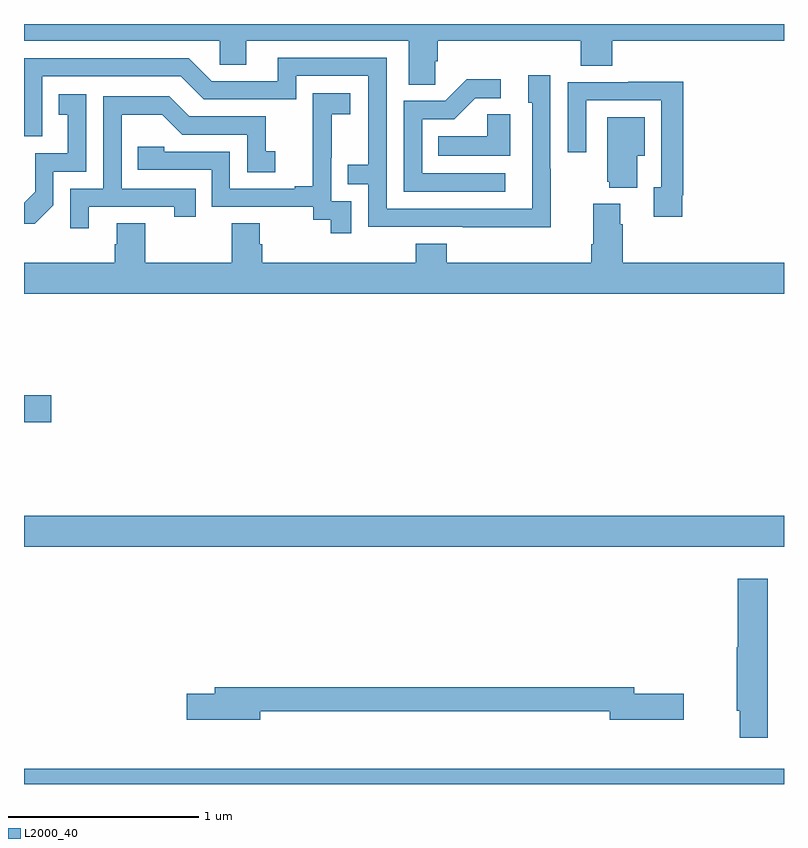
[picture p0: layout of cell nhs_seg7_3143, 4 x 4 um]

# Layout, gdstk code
import gdstk
lib = gdstk.Library(unit=1e-6, precision=1e-09)
def R(c, l, rs):  # rectangles x0, y0, x1, y1
    for r in rs: c.add(gdstk.rectangle(r[:2], r[2:], *l))
def P(c, l, *ps):  # polygons
    for p in ps: c.add(gdstk.Polygon(p, *l))
L2000_40 = (2000, 40)

nhs_seg7_3143 = lib.new_cell('nhs_seg7_3143')
R(nhs_seg7_3143, L2000_40, [(311,1034,315,1034.08), (311,1035.248,315,1035.412), (311,1035.904,311.143,1036.046)])
P(nhs_seg7_3143, L2000_40, [(313.164,1037.803),(313.178,1037.803),(313.178,1037.912),(313.931,1037.912),(313.931,1037.779),(314.096,1037.779),(314.096,1037.912),(315,1037.912),(315,1038),(311,1038),(311,1037.912),(312.03,1037.912),(312.03,1037.785),(312.169,1037.785),(312.169,1037.912),(313.025,1037.912),(313.025,1037.68),(313.164,1037.68)],
  [(313.773,1037.237),(313.77,1037.237),(313.77,1037.731),(313.655,1037.731),(313.655,1037.586),(313.674,1037.586),(313.674,1037.028),(312.909,1037.028),(312.909,1037.823),(312.335,1037.823),(312.335,1037.7),(311.988,1037.7),(311.868,1037.82),(311,1037.82),(311,1037.409),(311.097,1037.409),(311.097,1037.724),(311.826,1037.724),(311.946,1037.604),(312.432,1037.604),(312.432,1037.727),(312.813,1037.727),(312.813,1037.258),(312.703,1037.258),(312.703,1037.157),(312.813,1037.157),(312.813,1036.932),(313.309,1036.932),(313.309,1036.93),(313.773,1036.93)],
  [(313.534,1037.214),(313.095,1037.214),(313.095,1037.499),(313.264,1037.499),(313.375,1037.61),(313.51,1037.61),(313.51,1037.708),(313.331,1037.708),(313.218,1037.595),(312.999,1037.595),(312.999,1037.118),(313.534,1037.118)],
  [(314.464,1037.098),(314.471,1037.098),(314.471,1037.696),(314.179,1037.696),(314.179,1037.694),(313.863,1037.694),(313.863,1037.325),(313.959,1037.325),(313.959,1037.598),(314.355,1037.598),(314.355,1037.142),(314.315,1037.142),(314.315,1036.986),(314.464,1036.986)],
  [(312.723,1037.067),(312.618,1037.067),(312.618,1037.297),(312.62,1037.297),(312.62,1037.525),(312.718,1037.525),(312.718,1037.635),(312.52,1037.635),(312.52,1037.429),(312.521,1037.429),(312.521,1037.146),(312.425,1037.146),(312.425,1037.133),(312.084,1037.133),(312.084,1037.328),(311.739,1037.328),(311.739,1037.355),(311.599,1037.355),(311.599,1037.232),(311.988,1037.232),(311.988,1037.037),(312.522,1037.037),(312.522,1036.969),(312.615,1036.969),(312.615,1036.899),(312.723,1036.899)],
  [(311.154,1037.046),(311.154,1037.223),(311.328,1037.223),(311.328,1037.629),(311.182,1037.629),(311.182,1037.523),(311.231,1037.523),(311.231,1037.319),(311.058,1037.319),(311.058,1037.118),(311,1037.06),(311,1036.949),(311.056,1036.949)],
  [(311.341,1037.037),(311.792,1037.037),(311.792,1036.986),(311.903,1036.986),(311.903,1037.133),(311.514,1037.133),(311.514,1037.522),(311.728,1037.522),(311.832,1037.418),(312.174,1037.418),(312.174,1037.22),(312.322,1037.22),(312.322,1037.329),(312.273,1037.329),(312.273,1037.514),(311.869,1037.514),(311.764,1037.619),(311.418,1037.619),(311.418,1037.133),(311.244,1037.133),(311.244,1036.926),(311.341,1036.926)],
  [(313.558,1037.525),(313.437,1037.525),(313.437,1037.41),(313.18,1037.41),(313.18,1037.306),(313.558,1037.306)],
  [(314.227,1037.306),(314.266,1037.306),(314.266,1037.509),(314.069,1037.509),(314.069,1037.169),(314.081,1037.169),(314.081,1037.138),(314.227,1037.138)],
  [(315,1036.744),(314.15,1036.744),(314.15,1036.946),(314.137,1036.946),(314.137,1037.053),(313.997,1037.053),(313.997,1036.84),(313.985,1036.84),(313.985,1036.744),(313.226,1036.744),(313.226,1036.843),(313.061,1036.843),(313.061,1036.744),(312.254,1036.744),(312.254,1036.842),(312.241,1036.842),(312.241,1036.952),(312.094,1036.952),(312.094,1036.744),(311.637,1036.744),(311.637,1036.952),(311.489,1036.952),(311.489,1036.842),(311.477,1036.842),(311.477,1036.744),(311,1036.744),(311,1036.58),(315,1036.58)],
  [(314.914,1035.079),(314.756,1035.079),(314.756,1034.721),(314.75,1034.721),(314.75,1034.385),(314.768,1034.385),(314.768,1034.244),(314.914,1034.244)],
  [(312.244,1034.382),(314.084,1034.382),(314.084,1034.339),(314.473,1034.339),(314.473,1034.474),(314.212,1034.474),(314.212,1034.51),(312.005,1034.51),(312.005,1034.474),(311.856,1034.474),(311.856,1034.339),(312.244,1034.339)])

lib.write_gds('nhs_seg7_3143.gds')
